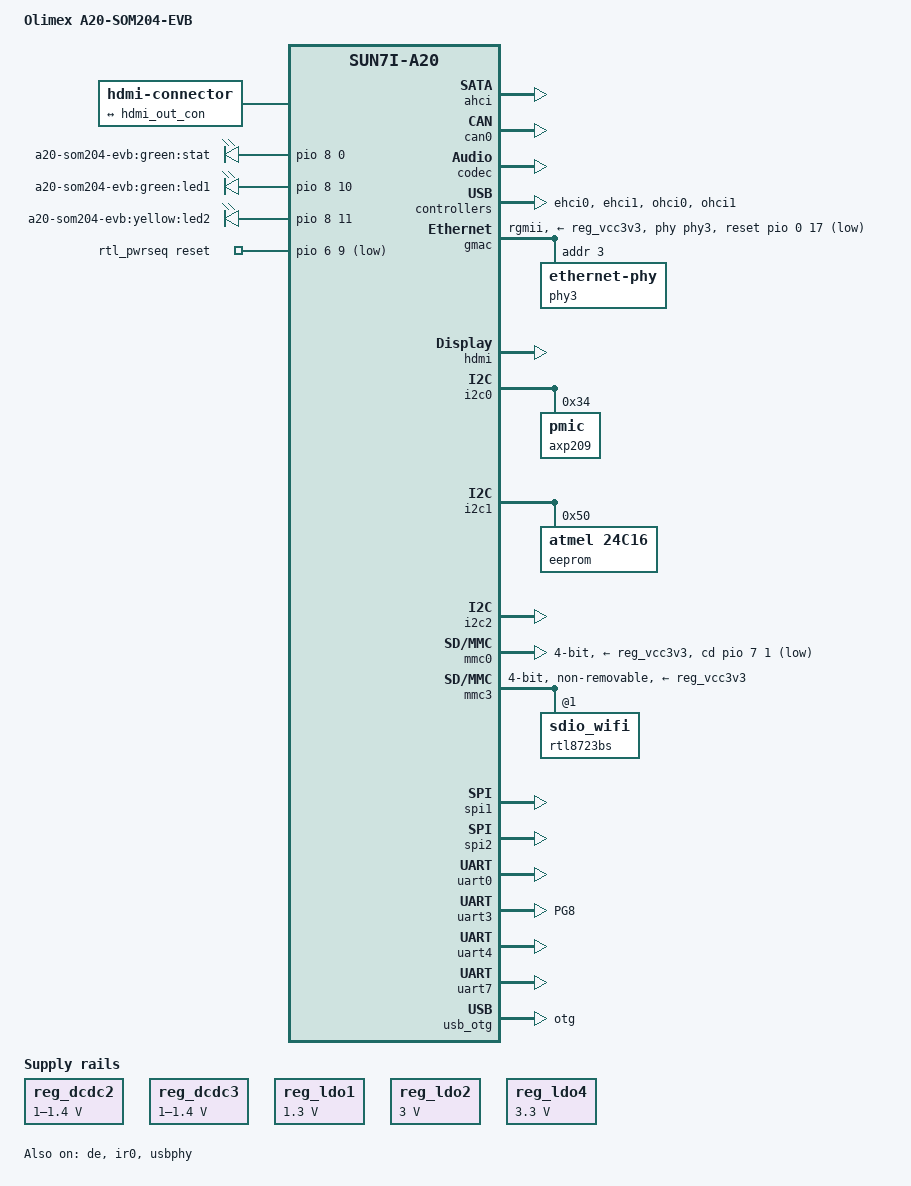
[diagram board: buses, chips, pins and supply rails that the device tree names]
// SPDX-License-Identifier: (GPL-2.0+ OR MIT)
/*
 * Device Tree Source for A20-SOM204-EVB Board
 *
 * Copyright (C) 2018 Olimex Ltd.
 *   Author: Stefan Mavrodiev <stefan@olimex.com>
 */

/dts-v1/;
#include "sun7i-a20.dtsi"
#include "sunxi-common-regulators.dtsi"


#include <dt-bindings/gpio/gpio.h>
#include <dt-bindings/interrupt-controller/irq.h>
#include <dt-bindings/pwm/pwm.h>

/ {
	model = "Olimex A20-SOM204-EVB";
	compatible = "olimex,a20-olimex-som204-evb", "allwinner,sun7i-a20";

	aliases {
		serial0 = &uart0;
		serial1 = &uart4;
		serial2 = &uart7;
		spi0 = &spi1;
		spi1 = &spi2;
		ethernet1 = &rtl8723bs;
	};

	chosen {
		stdout-path = "serial0:115200n8";
	};

	hdmi-connector {
		compatible = "hdmi-connector";
		type = "a";

		port {
			hdmi_con_in: endpoint {
				remote-endpoint = <&hdmi_out_con>;
			};
		};
	};

	leds {
		compatible = "gpio-leds";

		stat {
			label = "a20-som204-evb:green:stat";
			gpios = <&pio 8 0 GPIO_ACTIVE_HIGH>;
			default-state = "on";
		};

		led1 {
			label = "a20-som204-evb:green:led1";
			gpios = <&pio 8 10 GPIO_ACTIVE_HIGH>;
			default-state = "on";
		};

		led2 {
			label = "a20-som204-evb:yellow:led2";
			gpios = <&pio 8 11 GPIO_ACTIVE_HIGH>;
			default-state = "on";
		};
	};

	rtl_pwrseq: rtl_pwrseq {
		compatible = "mmc-pwrseq-simple";
		reset-gpios = <&pio 6 9 GPIO_ACTIVE_LOW>;
	};
};

&ahci {
	target-supply = <&reg_ahci_5v>;
	status = "okay";
};

&can0 {
	pinctrl-names = "default";
	pinctrl-0 = <&can_ph_pins>;
	status = "okay";
};

&codec {
	status = "okay";
};

&cpu0 {
	cpu-supply = <&reg_dcdc2>;
};

&de {
	status = "okay";
};

&ehci0 {
	status = "okay";
};

&ehci1 {
	status = "okay";
};

&gmac {
	pinctrl-names = "default";
	pinctrl-0 = <&gmac_rgmii_pins>;
	phy = <&phy3>;
	phy-mode = "rgmii";
	phy-supply = <&reg_vcc3v3>;

	snps,reset-gpio = <&pio 0 17 GPIO_ACTIVE_HIGH>;
	snps,reset-active-low;
	snps,reset-delays-us = <0 10000 1000000>;
	status = "okay";

	phy3: ethernet-phy@3 {
		reg = <3>;
	};
};

&hdmi {
	status = "okay";
};

&hdmi_out {
	hdmi_out_con: endpoint {
		remote-endpoint = <&hdmi_con_in>;
	};
};

&i2c0 {
	status = "okay";

	axp209: pmic@34 {
		reg = <0x34>;
		interrupt-parent = <&nmi_intc>;
		interrupts = <0 IRQ_TYPE_LEVEL_LOW>;
	};
};

/* Exposed to UEXT1 */
&i2c1 {
	status = "okay";

	eeprom: eeprom@50 {
		compatible = "atmel,24c16";
		reg = <0x50>;
		pagesize = <16>;
	};
};

/* Exposed to UEXT2 */
&i2c2 {
	status = "okay";
};

&ir0 {
	pinctrl-names = "default";
	pinctrl-0 = <&ir0_rx_pin>;
	status = "okay";
};

&mmc0 {
	vmmc-supply = <&reg_vcc3v3>;
	bus-width = <4>;
	cd-gpios = <&pio 7 1 GPIO_ACTIVE_LOW>;
	status = "okay";
};

&mmc3 {
	vmmc-supply = <&reg_vcc3v3>;
	mmc-pwrseq = <&rtl_pwrseq>;
	bus-width = <4>;
	non-removable;
	status = "okay";

	rtl8723bs: sdio_wifi@1 {
		reg = <1>;
	};
};

&ohci0 {
	status = "okay";
};

&ohci1 {
	status = "okay";
};

&otg_sram {
	status = "okay";
};

&pio {
	uart3_rts_pin: uart3-rts-pin {
		pins = "PG8";
		function = "uart3";
	};
};

#include "axp209.dtsi"

&ac_power_supply {
	status = "okay";
};

&battery_power_supply {
	status = "okay";
};

&reg_ahci_5v {
	gpio = <&pio 2 3 GPIO_ACTIVE_HIGH>;
	status = "okay";
};

&reg_dcdc2 {
	regulator-always-on;
	regulator-min-microvolt = <1000000>;
	regulator-max-microvolt = <1400000>;
	regulator-name = "vdd-cpu";
};

&reg_dcdc3 {
	regulator-always-on;
	regulator-min-microvolt = <1000000>;
	regulator-max-microvolt = <1400000>;
	regulator-name = "vdd-int-dll";
};

&reg_ldo1 {
	regulator-always-on;
	regulator-min-microvolt = <1300000>;
	regulator-max-microvolt = <1300000>;
	regulator-name = "vdd-rtc";
};

&reg_ldo2 {
	regulator-always-on;
	regulator-min-microvolt = <3000000>;
	regulator-max-microvolt = <3000000>;
	regulator-name = "avcc";
};

&reg_ldo4 {
	regulator-min-microvolt = <3300000>;
	regulator-max-microvolt = <3300000>;
	regulator-name = "vcc-pg";
};

&reg_usb0_vbus {
	gpio = <&pio 2 17 GPIO_ACTIVE_HIGH>;
	status = "okay";
};

&reg_usb1_vbus {
	status = "okay";
};

&reg_usb2_vbus {
	status = "okay";
};

/* Exposed to UEXT1 */
&spi1 {
	pinctrl-names = "default";
	pinctrl-0 = <&spi1_pi_pins>,
		    <&spi1_cs0_pi_pin>;
	status = "okay";
};

/* Exposed to UEXT2 */
&spi2 {
	pinctrl-names = "default";
	pinctrl-0 = <&spi2_pc_pins>,
		    <&spi2_cs0_pc_pin>;
	status = "okay";
};

&uart0 {
	pinctrl-names = "default";
	pinctrl-0 = <&uart0_pb_pins>;
	status = "okay";
};

/* Used for RTL8723BS bluetooth */
&uart3 {
	pinctrl-names = "default";
	pinctrl-0 = <&uart3_pg_pins>, <&uart3_rts_pin>;
	status = "okay";
};

/* Exposed to UEXT1 */
&uart4 {
	pinctrl-names = "default";
	pinctrl-0 = <&uart4_pg_pins>;
	status = "okay";
};

/* Exposed to UEXT2 */
&uart7 {
	pinctrl-names = "default";
	pinctrl-0 = <&uart7_pi_pins>;
	status = "okay";
};

&usb_otg {
	dr_mode = "otg";
	status = "okay";
};

&usb_power_supply {
	status = "okay";
};

&usbphy {
	usb0_id_det-gpio = <&pio 7 4 GPIO_ACTIVE_HIGH>; /* PH4 */
	usb0_vbus_det-gpio = <&pio 7 5 GPIO_ACTIVE_HIGH>; /* PH5 */
	usb0_vbus_power-supply = <&usb_power_supply>;
	usb0_vbus-supply = <&reg_usb0_vbus>;
	usb1_vbus-supply = <&reg_usb1_vbus>;
	usb2_vbus-supply = <&reg_usb2_vbus>;
	status = "okay";
};
